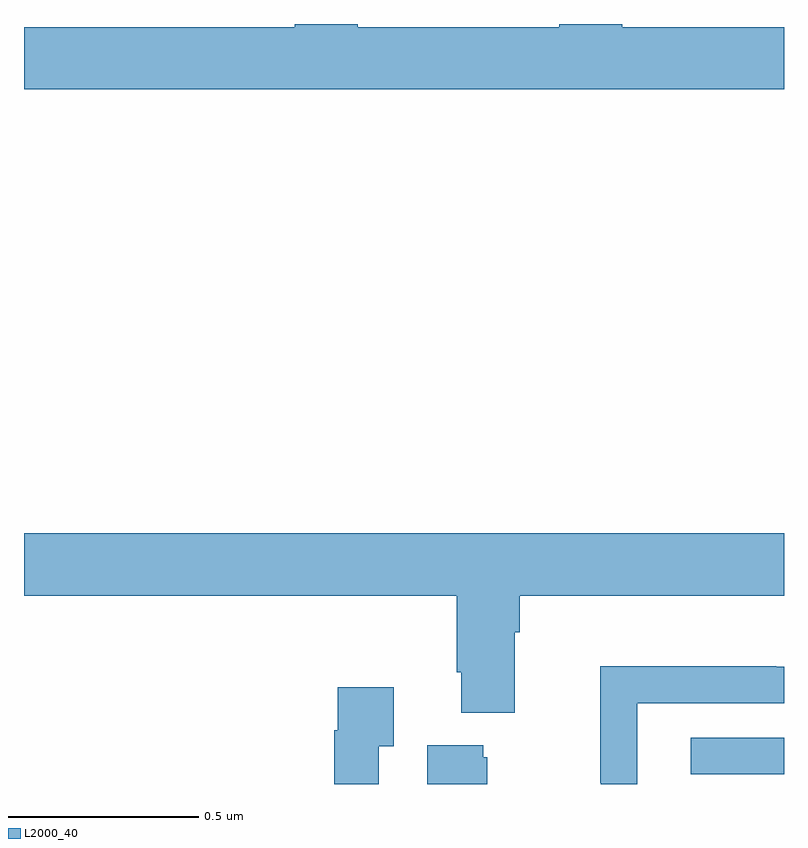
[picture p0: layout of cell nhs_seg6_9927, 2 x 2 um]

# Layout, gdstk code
import gdstk
lib = gdstk.Library(unit=1e-6, precision=1e-09)
def R(c, l, rs):  # rectangles x0, y0, x1, y1
    for r in rs: c.add(gdstk.rectangle(r[:2], r[2:], *l))
def P(c, l, *ps):  # polygons
    for p in ps: c.add(gdstk.Polygon(p, *l))
L2000_40 = (2000, 40)

nhs_seg6_9927 = lib.new_cell('nhs_seg6_9927')
R(nhs_seg6_9927, L2000_40, [(241.755,953.526,242,953.622)])
P(nhs_seg6_9927, L2000_40, [(242,955.492),(241.574,955.492),(241.574,955.5),(241.409,955.5),(241.409,955.492),(240.878,955.492),(240.878,955.5),(240.713,955.5),(240.713,955.492),(240,955.492),(240,955.328),(242,955.328)],
  [(241.291,953.9),(241.304,953.9),(241.304,953.996),(242,953.996),(242,954.16),(240,954.16),(240,953.996),(241.139,953.996),(241.139,953.794),(241.151,953.794),(241.151,953.687),(241.291,953.687)],
  [(241.614,953.712),(242,953.712),(242,953.808),(241.979,953.808),(241.979,953.81),(241.516,953.81),(241.516,953.503),(241.518,953.503),(241.518,953.5),(241.614,953.5)],
  [(240.933,953.599),(240.973,953.599),(240.973,953.755),(240.825,953.755),(240.825,953.642),(240.817,953.642),(240.817,953.5),(240.933,953.5)],
  [(241.219,953.571),(241.208,953.571),(241.208,953.602),(241.061,953.602),(241.061,953.5),(241.219,953.5)])

lib.write_gds('nhs_seg6_9927.gds')
